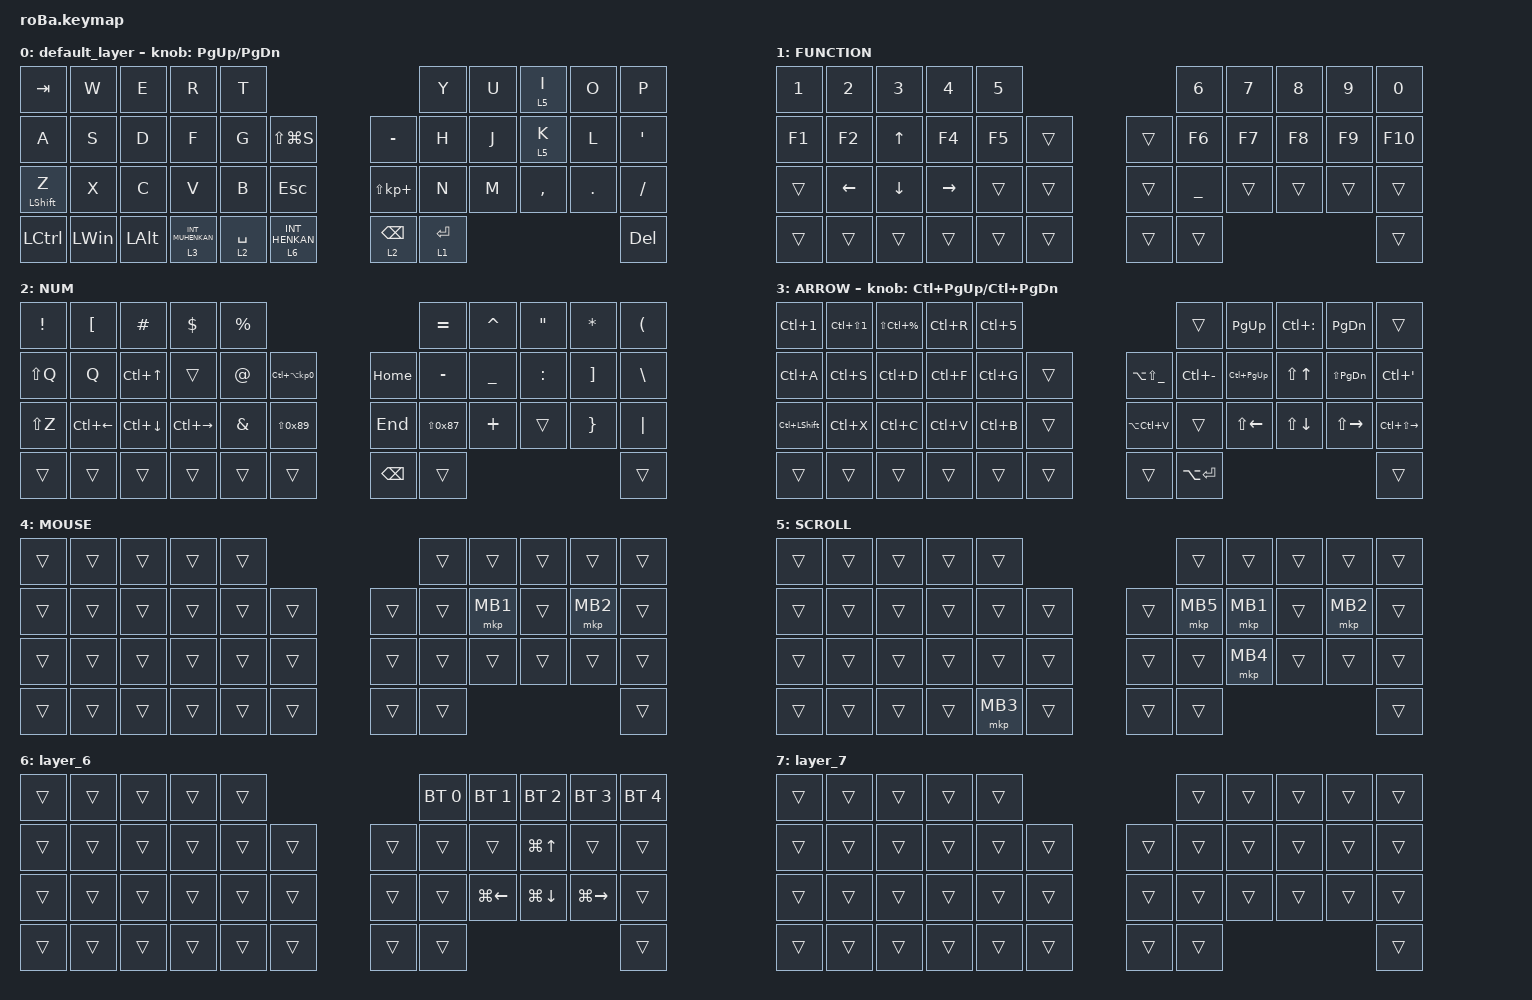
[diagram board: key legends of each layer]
// OS設定を日本語キーボードのまま使用するための変換定義

#define JP_DQUOTE       AT                // "
#define JP_AMPERSAND    CARET             // &
#define JP_QUOTE        AMPERSAND         // '
#define JP_EQUAL        UNDER             // =
#define JP_CARET        EQUAL             // ^
#define JP_YEN          0x89              // ¥
#define JP_PLUS         COLON             // +
#define JP_TILDE        PLUS              // ~
#define JP_PIPE         LS(0x89)          // |
#define JP_AT           LEFT_BRACKET      // @
#define JP_COLON        SINGLE_QUOTE      // :
#define JP_ASTERISK     DOUBLE_QUOTES     // *
#define JP_BACKQUOTE    LEFT_BRACE        // `
#define JP_UNDERSCORE   LS(0x87)          // _
#define JP_LBRACKET     RIGHT_BRACKET     // [
#define JP_RBRACKET     BACKSLASH         // ]
#define JP_LPAREN       ASTERISK          // (
#define JP_RPAREN       LEFT_PARENTHESIS  // )
#define JP_LBRACE       RIGHT_BRACE       // {
#define JP_RBRACE       PIPE              // }
#define JP_KANA         LANGUAGE_1        // かな
#define JP_EISU         LANGUAGE_2        // 英数
#define JP_HANZEN       GRAVE             // 半角/全角

#include <behaviors.dtsi>
#include <dt-bindings/zmk/bt.h>
#include <dt-bindings/zmk/keys.h>
#include <dt-bindings/zmk/pointing.h>

#define MOUSE 4
#define SCROLL 5
#define NUM 6

&mt {
    flavor = "balanced";
    quick-tap-ms = <0>;
};

/ {
    combos {
        compatible = "zmk,combos";

        tab {
            bindings = <&kp TAB>;
            key-positions = <11 12>;
        };

        shift_tab {
            bindings = <&kp LS(TAB)>;
            key-positions = <12 13>;
        };

        muhennkann {
            bindings = <&to_layer_0 INT_MUHENKAN>;
            key-positions = <11 10>;
        };

        double_quotation {
            bindings = <&kp DOUBLE_QUOTES>;
            key-positions = <20 21>;
        };

        eq {
            bindings = <&kp EQUAL>;
            key-positions = <24 25>;
        };
    };

    macros {
        to_layer_0: to_layer_0 {
            compatible = "zmk,behavior-macro-one-param";
            #binding-cells = <1>;
            bindings = <&to 0 &macro_param_1to1 &kp MACRO_PLACEHOLDER>;
            label = "TO_LAYER_0";
        };
    };

    behaviors {
        lt_to_layer_0: lt_to_layer_0 {
            compatible = "zmk,behavior-hold-tap";
            label = "LAYER_TAP_TO_0";
            bindings = <&mo>, <&to_layer_0>;

            #binding-cells = <2>;
            tapping-term-ms = <200>;
        };
    };

    keymap {
        compatible = "zmk,keymap";

        default_layer {
            bindings = <
&kp TAB           &kp W         &kp E         &kp R                          &kp T                                                          &kp Y        &kp U  &lt 5 I    &kp O    &kp P
&kp A             &kp S         &kp D         &kp F                          &kp G        &kp LS(LG(S))                    &kp MINUS        &kp H        &kp J  &lt 5 K    &kp L    &kp SINGLE_QUOTE
&mt LEFT_SHIFT Z  &kp X         &kp C         &kp V                          &kp B        &kp ESCAPE                       &kp LS(KP_PLUS)  &kp N        &kp M  &kp COMMA  &kp DOT  &kp SLASH
&kp LCTRL         &kp LEFT_WIN  &kp LEFT_ALT  &lt_to_layer_0 3 INT_MUHENKAN  &lt 2 SPACE  &lt_to_layer_0 6 INT_HENKAN      &lt 2 BACKSPACE  &lt 1 ENTER                             &kp DEL
            >;

            sensor-bindings = <&inc_dec_kp PG_UP PAGE_DOWN>;
        };

        FUNCTION {
            bindings = <
&kp N1  &kp NUMBER_2    &kp NUMBER_3  &kp NUMBER_4  &kp N5                      &kp NUMBER_6    &kp N7  &kp N8  &kp N9  &kp N0
&kp F1  &kp F2          &kp UP_ARROW  &kp F4        &kp F5  &trans      &trans  &kp F6          &kp F7  &kp F8  &kp F9  &kp F10
&trans  &kp LEFT_ARROW  &kp DOWN      &kp RIGHT     &trans  &trans      &trans  &kp UNDERSCORE  &trans  &trans  &trans  &trans
&trans  &trans          &trans        &trans        &trans  &trans      &trans  &trans                                  &trans
            >;
        };

        NUM {
            bindings = <
&kp EXCL   &kp LEFT_BRACKET    &kp POUND         &kp DOLLAR     &kp PERCENT                                                &kp EQUAL     &kp CARET  &kp DOUBLE_QUOTES  &kp ASTERISK       &kp LEFT_PARENTHESIS
&kp LS(Q)  &kp Q               &kp LC(UP_ARROW)  &trans         &kp AT         &kp LC(LA(KP_NUMBER_0))      &kp HOME       &kp MINUS     &kp UNDER  &kp COLON          &kp RIGHT_BRACKET  &kp BACKSLASH
&kp LS(Z)  &kp LC(LEFT_ARROW)  &kp LC(DOWN)      &kp LC(RIGHT)  &kp AMPERSAND  &kp LS(0x89)                 &kp END        &kp LS(0x87)  &kp PLUS   &trans             &kp RIGHT_BRACE    &kp PIPE
&trans     &trans              &trans            &trans         &trans         &trans                       &kp BACKSPACE  &trans                                                         &trans
            >;
        };

        ARROW {
            bindings = <
&kp LC(NUMBER_1)    &kp LC(LS(NUMBER_1))  &kp LS(LC(PERCENT))  &kp LC(R)  &kp LC(N5)                                      &trans         &kp PAGE_UP         &kp LC(COLON)       &kp PAGE_DOWN        &trans
&kp LC(A)           &kp LC(S)             &kp LC(D)            &kp LC(F)  &kp LC(G)   &trans      &kp LA(LS(UNDERSCORE))  &kp LC(MINUS)  &kp LC(PAGE_UP)     &kp LS(UP_ARROW)    &kp LS(PAGE_DOWN)    &kp LC(SINGLE_QUOTE)
&kp LC(LEFT_SHIFT)  &kp LC(X)             &kp LC(C)            &kp LC(V)  &kp LC(B)   &trans      &kp LA(LC(V))           &trans         &kp LS(LEFT_ARROW)  &kp LS(DOWN_ARROW)  &kp LS(RIGHT_ARROW)  &kp LC(LS(RIGHT))
&trans              &trans                &trans               &trans     &trans      &trans      &trans                  &kp LA(ENTER)                                                               &trans
            >;

            sensor-bindings = <&inc_dec_kp LC(PAGE_UP) LC(PAGE_DOWN)>;
        };

        MOUSE {
            bindings = <
&trans  &trans  &trans  &trans  &trans                      &trans  &trans    &trans  &trans    &trans
&trans  &trans  &trans  &trans  &trans  &trans      &trans  &trans  &mkp MB1  &trans  &mkp MB2  &trans
&trans  &trans  &trans  &trans  &trans  &trans      &trans  &trans  &trans    &trans  &trans    &trans
&trans  &trans  &trans  &trans  &trans  &trans      &trans  &trans                              &trans
            >;
        };

        SCROLL {
            bindings = <
&trans  &trans  &trans  &trans  &trans                        &trans    &trans    &trans  &trans    &trans
&trans  &trans  &trans  &trans  &trans    &trans      &trans  &mkp MB5  &mkp MB1  &trans  &mkp MB2  &trans
&trans  &trans  &trans  &trans  &trans    &trans      &trans  &trans    &mkp MB4  &trans  &trans    &trans
&trans  &trans  &trans  &trans  &mkp MB3  &trans      &trans  &trans                                &trans
            >;
        };

        layer_6 {
            bindings = <
&trans  &trans  &trans  &trans  &trans                      &bt BT_SEL 0  &bt BT_SEL 1        &bt BT_SEL 2        &bt BT_SEL 3         &bt BT_SEL 4
&trans  &trans  &trans  &trans  &trans  &trans      &trans  &trans        &trans              &kp LG(UP_ARROW)    &trans               &trans
&trans  &trans  &trans  &trans  &trans  &trans      &trans  &trans        &kp LG(LEFT_ARROW)  &kp LG(DOWN_ARROW)  &kp LG(RIGHT_ARROW)  &trans
&trans  &trans  &trans  &trans  &trans  &trans      &trans  &trans                                                                     &trans
            >;
        };

        layer_7 {
            bindings = <
&trans  &trans  &trans  &trans  &trans                      &trans  &trans  &trans  &trans  &trans
&trans  &trans  &trans  &trans  &trans  &trans      &trans  &trans  &trans  &trans  &trans  &trans
&trans  &trans  &trans  &trans  &trans  &trans      &trans  &trans  &trans  &trans  &trans  &trans
&trans  &trans  &trans  &trans  &trans  &trans      &trans  &trans                          &trans
            >;
        };
    };
};
